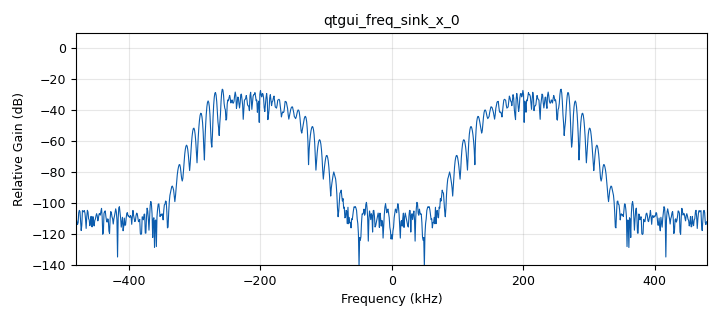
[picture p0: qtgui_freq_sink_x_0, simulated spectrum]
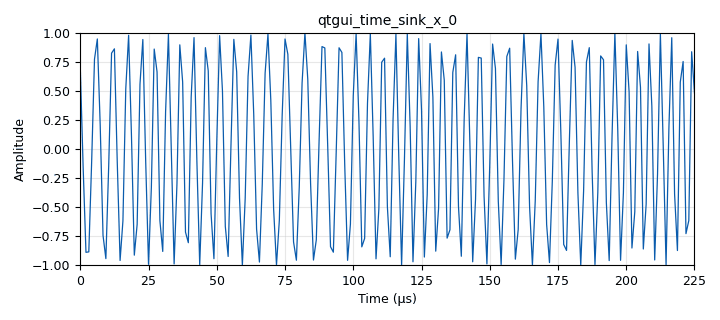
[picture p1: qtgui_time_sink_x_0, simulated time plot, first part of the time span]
options:
  parameters:
    generate_options: qt_gui
    id: lab41
    output_language: python
    title: lab4_1
  states: {}

blocks:
- name: audio_rate
  id: variable
  parameters:
    value: '48000'
  states: {}
- name: quad_rate
  id: variable
  parameters:
    value: '960000'
  states: {}
- name: analog_phase_modulator_fc_0
  id: analog_phase_modulator_fc
  parameters:
    sensitivity: '471238.89803847'
  states: {}
- name: analog_sig_source_x_0
  id: analog_sig_source_x
  parameters:
    amp: '0.5'
    freq: '11000'
    offset: '0'
    phase: '0'
    samp_rate: audio_rate
    type: float
    waveform: analog.GR_COS_WAVE
  states: {}
- name: analog_sig_source_x_1
  id: analog_sig_source_x
  parameters:
    amp: '0.5'
    freq: '1000'
    offset: '0'
    phase: '0'
    samp_rate: audio_rate
    type: float
    waveform: analog.GR_COS_WAVE
  states: {}
- name: analog_sig_source_x_2
  id: analog_sig_source_x
  parameters:
    amp: '1'
    freq: '200000'
    offset: '0'
    phase: '0'
    samp_rate: quad_rate
    type: complex
    waveform: analog.GR_COS_WAVE
  states: {}
- name: blocks_add_xx_0
  id: blocks_add_xx
  parameters:
    type: float
  states: {}
- name: blocks_complex_to_float_0
  id: blocks_complex_to_float
  parameters: {}
  states: {}
- name: blocks_complex_to_float_0_0
  id: blocks_complex_to_float
  parameters: {}
  states: {state: disabled}
- name: blocks_multiply_xx_0
  id: blocks_multiply_xx
  parameters:
    type: complex
  states: {}
- name: blocks_throttle_0
  id: blocks_throttle
  parameters:
    samples_per_second: quad_rate
    type: float
  states: {}
- name: iir_filter_xxx_0
  id: iir_filter_xxx
  parameters:
    fbtaps: '[1, 1]'
    fftaps: '[1/audio_rate]'
    type: ffd
  states: {}
- name: qtgui_freq_sink_x_0
  id: qtgui_freq_sink_x
  parameters:
    bw: quad_rate
    fc: '0'
    fftsize: '1024'
    type: float
  states: {}
- name: qtgui_time_sink_x_0
  id: qtgui_time_sink_x
  parameters:
    size: '1024'
    srate: quad_rate
    type: float
  states: {}
- name: qtgui_time_sink_x_0_0
  id: qtgui_time_sink_x
  parameters:
    size: '1024'
    srate: quad_rate
    type: float
  states: {state: disabled}
- name: qtgui_time_sink_x_0_0_0
  id: qtgui_time_sink_x
  parameters:
    size: '1024'
    srate: quad_rate
    type: float
  states: {state: disabled}
- name: rational_resampler_xxx_0
  id: rational_resampler_xxx
  parameters:
    decim: '1'
    interp: '20'
    type: fff
  states: {}

connections:
- [analog_phase_modulator_fc_0, '0', blocks_complex_to_float_0_0, '0']
- [analog_phase_modulator_fc_0, '0', blocks_multiply_xx_0, '0']
- [analog_sig_source_x_0, '0', blocks_add_xx_0, '1']
- [analog_sig_source_x_1, '0', blocks_add_xx_0, '0']
- [analog_sig_source_x_2, '0', blocks_multiply_xx_0, '1']
- [blocks_add_xx_0, '0', iir_filter_xxx_0, '0']
- [blocks_complex_to_float_0, '0', blocks_throttle_0, '0']
- [blocks_complex_to_float_0_0, '0', qtgui_time_sink_x_0_0, '0']
- [blocks_multiply_xx_0, '0', blocks_complex_to_float_0, '0']
- [blocks_throttle_0, '0', qtgui_freq_sink_x_0, '0']
- [blocks_throttle_0, '0', qtgui_time_sink_x_0, '0']
- [iir_filter_xxx_0, '0', rational_resampler_xxx_0, '0']
- [rational_resampler_xxx_0, '0', analog_phase_modulator_fc_0, '0']
- [rational_resampler_xxx_0, '0', qtgui_time_sink_x_0_0_0, '0']

metadata:
  file_format: 1
